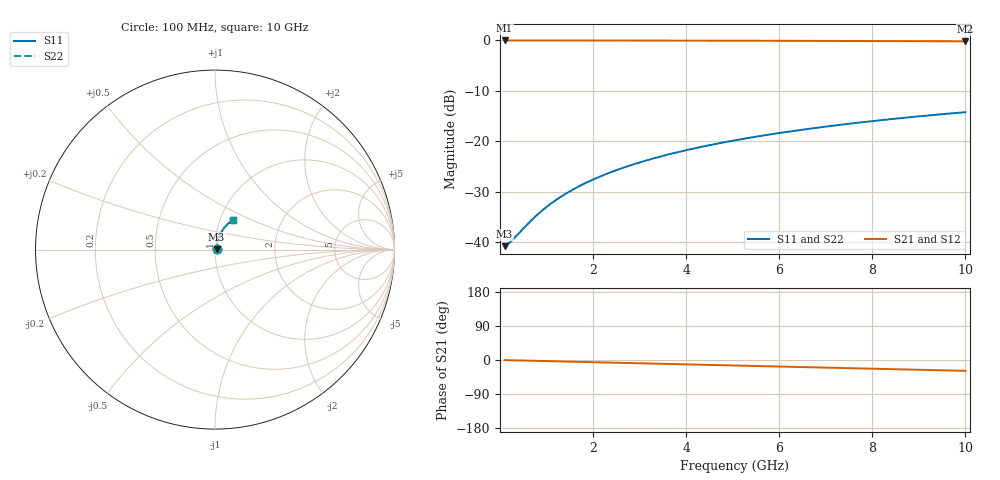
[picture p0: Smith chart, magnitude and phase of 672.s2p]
# Hz S RI R 50.00
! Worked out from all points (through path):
!   100 points, 100 MHz to 10 GHz, reference 50 ohm
!   highest |S21| = -0.08 dB at 100 MHz (marker M1); lowest = -0.3 dB at 10 GHz (marker M2)
!   group delay of S21, straight-line fit = 7.94 ps
!   lowest |S11| = -40.7 dB at 100 MHz (marker M3), VSWR 1.02, Z = 50.9 + j0.204 ohm
!   |S11| at or under -10 dB: start of sweep to end of sweep
!   |S22| runs from -40.7 to -14.3 dB; largest |S21 - S12| = 0
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1e8  0.00898 0.002  0.991 -0.005  0.991 -0.005  0.00898 0.002
2e8  0.00906 0.004  0.9909 -0.00999  0.9909 -0.00999  0.00906 0.004
3e8  0.00916 0.006  0.9908 -0.015  0.9908 -0.015  0.00916 0.006
7e8  0.00967 0.014  0.9901 -0.035  0.9901 -0.035  0.00967 0.014
8e8  0.00984 0.016  0.9898 -0.0399  0.9898 -0.0399  0.00984 0.016
1e9  0.0102 0.0199  0.9893 -0.0499  0.9893 -0.0499  0.0102 0.0199
1.2e9  0.0107 0.0239  0.9886 -0.0599  0.9886 -0.0599  0.0107 0.0239
1.4e9  0.0113 0.0279  0.9878 -0.0698  0.9878 -0.0698  0.0113 0.0279
1.6e9  0.0119 0.0318  0.9869 -0.0798  0.9869 -0.0798  0.0119 0.0318
1.8e9  0.0126 0.0357  0.9859 -0.0897  0.9859 -0.0897  0.0126 0.0357
2.1e9  0.0138 0.0416  0.9841 -0.1045  0.9841 -0.1045  0.0138 0.0416
2.5e9  0.0157 0.0493  0.9814 -0.1243  0.9814 -0.1243  0.0157 0.0493
2.9e9  0.0179 0.057  0.9782 -0.1439  0.9782 -0.1439  0.0179 0.057
3.4e9  0.021 0.0664  0.9736 -0.1683  0.9736 -0.1683  0.021 0.0664
3.8e9  0.0239 0.0738  0.9695 -0.1877  0.9695 -0.1877  0.0239 0.0738
4.2e9  0.0271 0.0811  0.9648 -0.207  0.9648 -0.207  0.0271 0.0811
5.1e9  0.0352 0.097  0.9529 -0.2498  0.9529 -0.2498  0.0352 0.097
5.9e9  0.0436 0.1104  0.9405 -0.2871  0.9405 -0.2871  0.0436 0.1104
6.7e9  0.0529 0.123  0.9265 -0.3236  0.9265 -0.3236  0.0529 0.123
7.5e9  0.0633 0.1348  0.9109 -0.3593  0.9109 -0.3593  0.0633 0.1348
8.4e9  0.0759 0.147  0.8916 -0.3984  0.8916 -0.3984  0.0759 0.147
1e10  0.1007 0.1656  0.8531 -0.4645  0.8531 -0.4645  0.1007 0.1656
